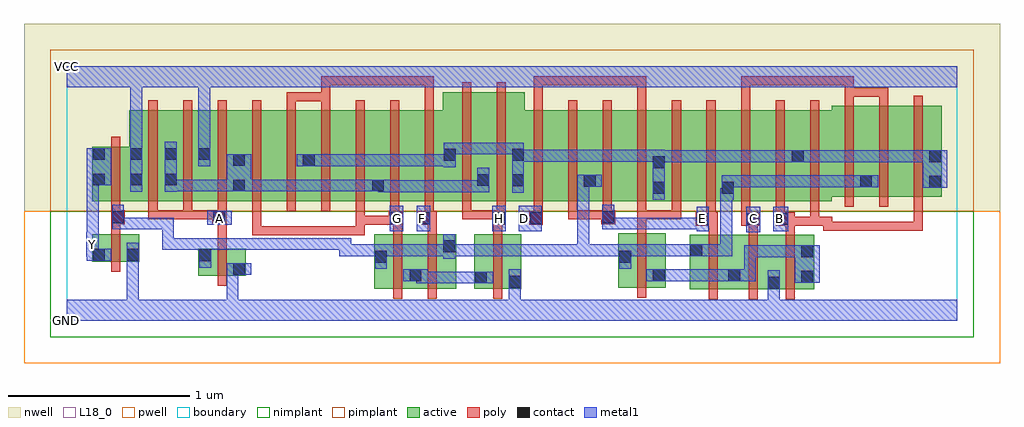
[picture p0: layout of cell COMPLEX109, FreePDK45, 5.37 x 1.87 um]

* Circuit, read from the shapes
.subckt COMPLEX109 A B C D E F G GND H VCC Y
M1 GND n1 Y VSUBS nfet w=0.15u l=0.05u
M2 GND A n1 VSUBS nfet w=0.15u l=0.05u
M3 n2 G n1 VSUBS nfet w=0.3u l=0.05u
M4 n1 F n2 VSUBS nfet w=0.3u l=0.05u
M5 GND H n2 VSUBS nfet w=0.3u l=0.05u
M6 n3 D n1 VSUBS nfet w=0.3u l=0.05u
M7 n3 E n1 VSUBS nfet w=0.3u l=0.05u
M8 GND C n3 VSUBS nfet w=0.3u l=0.05u
M9 n3 B GND VSUBS nfet w=0.3u l=0.05u
M10 VCC n1 Y n4 pfet w=0.3u l=0.05u
M11 n5 A VCC n4 pfet w=0.5u l=0.05u m=3
M12 n6 G n5 n4 pfet w=0.5u l=0.05u
M13 n7 F n6 n4 pfet w=0.5u l=0.05u
M14 n8 F n7 n4 pfet w=0.5u l=0.05u
M15 n5 G n8 n4 pfet w=0.5u l=0.05u
M16 n9 G n5 n4 pfet w=0.5u l=0.05u
M17 n7 F n9 n4 pfet w=0.5u l=0.05u
M18 n5 H n7 n4 pfet w=0.6u l=0.05u m=2
M19 n10 D n7 n4 pfet w=0.5u l=0.05u
M20 n1 E n10 n4 pfet w=0.5u l=0.05u
M21 n11 E n1 n4 pfet w=0.5u l=0.05u
M22 n7 D n11 n4 pfet w=0.5u l=0.05u
M23 n12 D n7 n4 pfet w=0.5u l=0.05u
M24 n1 E n12 n4 pfet w=0.5u l=0.05u
M25 n13 C n1 n4 pfet w=0.5u l=0.05u
M26 n7 B n13 n4 pfet w=0.5u l=0.05u
M27 n14 B n7 n4 pfet w=0.5u l=0.05u
M28 n1 C n14 n4 pfet w=0.5u l=0.05u
M29 n15 C n1 n4 pfet w=0.5u l=0.05u
M30 n7 B n15 n4 pfet w=0.5u l=0.05u
.ends

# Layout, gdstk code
import gdstk
lib = gdstk.Library(unit=1e-6, precision=1e-09)
def R(c, l, rs):  # rectangles x0, y0, x1, y1
    for r in rs: c.add(gdstk.rectangle(r[:2], r[2:], *l))
def A(c, l, x, y, w, h, nx, ny, dx, dy):  # array of equal rectangles
    R(c, l, [(x+i*dx, y+j*dy, x+i*dx+w, y+j*dy+h) for i in range(nx) for j in range(ny)])
active = (1, 0)
pwell = (2, 0)
nwell = (3, 0)
nimplant = (4, 0)
pimplant = (5, 0)
poly = (9, 0)
contact = (10, 0)
metal1 = (11, 0)
L18_0 = (18, 0)
boundary = (235, 0)

complex109 = lib.new_cell('COMPLEX109')
A(complex109, active, 2.69, 0.657, 0.225, 0.5, 3, 1, 0.38, 0)
A(complex109, active, 2.84, 0.657, 0.23, 0.5, 3, 1, 0.38, 0)
R(complex109, active, [(3.427,0.172,3.71,0.472), (3.635,0.172,3.927,0.472), (3.852,0.172,4.112,0.472), (3.852,0.172,3.927,0.392), (1.692,0.177,1.957,0.477), (1.882,0.177,2.142,0.477), (2.242,0.177,2.502,0.477), (2.427,0.177,2.502,0.477), (3.035,0.182,3.295,0.482), (1.882,0.2,1.957,0.392), (2.242,0.2,2.317,0.477), (3.22,0.2,3.295,0.482), (3.635,0.2,3.71,0.392), (4.037,0.2,4.112,0.472), (1.692,0.207,1.767,0.477), (0.725,0.247,0.985,0.397), (0.91,0.247,0.985,0.397), (2.067,0.247,2.142,0.477), (3.035,0.247,3.11,0.482), (3.427,0.247,3.502,0.472), (0.725,0.322,0.8,0.397), (0.14,0.325,0.215,0.475), (0.14,0.325,0.4,0.475), (0.325,0.325,0.4,0.475), (0.14,0.657,0.215,0.957), (0.14,0.657,0.42,0.957), (0.345,0.657,0.42,0.957), (0.345,0.657,0.61,1.157), (0.535,0.657,0.61,1.157), (0.535,0.657,0.795,1.157), (0.72,0.657,0.795,1.157), (0.72,0.657,0.985,1.157), (0.91,0.657,1.14,1.157), (0.91,0.657,0.985,1.157), (1.14,0.657,1.37,1.157), (1.295,0.657,1.52,1.157), (1.52,0.657,1.75,1.157), (1.675,0.657,1.9,1.157), (1.9,0.657,2.145,1.157), (2.07,0.657,2.33,1.257), (2.255,0.657,2.33,1.07), (2.255,0.657,2.52,1.257), (2.445,0.657,2.69,1.157), (2.445,0.657,2.52,1.2), (2.84,0.657,2.915,1.07), (3.22,0.657,3.295,1.157), (3.6,0.657,3.675,1.07), (3.83,0.657,4.06,1.157), (3.985,0.657,4.21,1.157), (1.675,0.682,1.75,1.07), (3.985,0.682,4.06,1.157), (4.21,0.682,4.435,1.182), (4.36,0.682,4.59,1.182), (4.36,0.682,4.435,1.07), (4.59,0.682,4.815,1.182), (4.74,0.682,4.815,1.157), (1.295,0.762,1.37,1.157), (2.07,0.782,2.145,1.2)])
R(complex109, pwell, [(-0.235,-0.235,5.135,0.602)])
R(complex109, nwell, [(-0.235,0.602,5.135,1.635)])
R(complex109, nimplant, [(-0.09,-0.09,4.99,0.602)])
R(complex109, pimplant, [(-0.09,0.602,4.99,1.49)])
A(complex109, poly, 3.52, 0.547, 0.05, 0.105, 3, 1, 0.19, 0)
A(complex109, poly, 0.45, 0.557, 0.05, 0.095, 3, 1, 0.19, 0)
A(complex109, poly, 2.76, 0.557, 0.05, 0.095, 4, 1, 0.19, 0)
A(complex109, poly, 0.45, 0.602, 0.05, 0.61, 9, 1, 0.19, 0)
A(complex109, poly, 2.57, 0.602, 0.05, 0.61, 9, 1, 0.19, 0)
A(complex109, poly, 4.28, 0.627, 0.05, 0.61, 3, 1, 0.19, 0)
A(complex109, poly, 2.57, 1.162, 0.05, 0.183, 3, 1, 0.57, 0)
R(complex109, poly, [(3.532,0.117,3.582,0.527), (3.752,0.117,3.802,0.527), (3.957,0.117,4.007,0.527), (1.797,0.122,1.847,0.532), (1.987,0.122,2.037,0.532), (2.347,0.122,2.397,0.532), (3.14,0.127,3.19,0.537), (0.83,0.192,0.88,0.452), (0.245,0.27,0.295,0.53), (0.83,0.402,0.88,0.582), (1.02,0.47,1.07,0.652), (1.02,0.47,1.07,0.52), (1.02,0.47,1.07,0.52), (1.02,0.47,1.07,0.52), (1.02,0.47,1.317,0.52), (1.267,0.47,1.317,0.52), (1.267,0.47,1.507,0.52), (1.457,0.47,1.507,0.52), (1.457,0.47,1.507,0.52), (1.457,0.47,1.507,0.52), (1.457,0.47,1.64,0.52), (1.59,0.47,1.64,0.577), (3.532,0.477,3.582,0.572), (3.752,0.477,3.802,0.572), (3.957,0.477,4.007,0.572), (0.245,0.48,0.295,0.582), (1.797,0.482,1.847,0.577), (1.987,0.482,2.037,0.577), (2.347,0.482,2.397,0.577), (3.14,0.487,3.19,0.607), (4.162,0.495,4.345,0.545), (4.162,0.495,4.212,0.572), (4.295,0.495,4.345,0.545), (4.295,0.495,4.345,0.545), (4.295,0.495,4.345,0.545), (4.295,0.495,4.54,0.545), (4.49,0.495,4.54,0.545), (4.49,0.495,4.71,0.545), (4.66,0.495,4.71,0.677), (4.66,0.495,4.71,0.545), (4.66,0.495,4.71,0.545), (4.66,0.495,4.71,0.545), (3.462,0.522,3.582,0.597), (3.71,0.522,3.81,0.597), (3.9,0.522,4.007,0.597), (3.957,0.522,4.007,0.572), (3.957,0.522,4.007,0.572), (3.957,0.522,4.14,0.572), (4.09,0.522,4.14,0.572), (4.09,0.522,4.212,0.572), (4.09,0.522,4.14,0.652), (1.59,0.527,1.64,0.577), (1.59,0.527,1.64,0.577), (1.59,0.527,1.822,0.577), (1.59,0.527,1.64,0.652), (1.772,0.527,1.822,0.577), (1.772,0.527,1.822,0.577), (1.772,0.527,1.847,0.602), (1.93,0.527,2.037,0.602), (2.34,0.527,2.415,0.607), (2.545,0.527,2.62,0.602), (0.245,0.532,0.32,0.607), (0.802,0.532,0.88,0.607), (2.942,0.532,3.017,0.607), (1.78,0.552,1.83,0.652), (1.97,0.552,2.02,0.652), (2.57,0.552,2.62,0.652), (0.245,0.557,0.295,0.652), (0.45,0.557,0.5,0.607), (0.45,0.557,0.5,0.607), (0.45,0.557,0.5,0.607), (0.45,0.557,0.69,0.607), (0.64,0.557,0.69,0.607), (0.64,0.557,0.69,0.607), (0.64,0.557,0.69,0.607), (0.64,0.557,0.852,0.607), (2.175,0.557,2.225,0.607), (2.175,0.557,2.225,0.652), (2.175,0.557,2.39,0.607), (2.34,0.557,2.39,0.607), (2.34,0.557,2.39,0.607), (2.365,0.557,2.415,0.652), (2.76,0.557,2.81,0.607), (2.76,0.557,2.81,0.607), (2.76,0.557,2.81,0.607), (2.76,0.557,2.992,0.607), (3.14,0.557,3.19,0.607), (3.14,0.557,3.38,0.607), (3.33,0.557,3.38,0.607), (3.33,0.557,3.38,0.607), (3.33,0.557,3.38,0.607), (0.245,0.602,0.295,1.012), (2.175,0.602,2.225,1.312), (2.365,0.602,2.415,1.312), (1.21,1.162,1.26,1.257), (1.4,1.162,1.45,1.257), (1.97,1.162,2.02,1.345), (4.28,1.187,4.33,1.282), (4.47,1.187,4.52,1.282), (1.21,1.207,1.26,1.257), (1.21,1.207,1.26,1.257), (1.21,1.207,1.26,1.257), (1.21,1.207,1.45,1.257), (1.4,1.207,1.45,1.345), (4.28,1.232,4.52,1.282), (4.28,1.232,4.33,1.345), (4.47,1.232,4.52,1.282), (4.47,1.232,4.52,1.282), (4.47,1.232,4.52,1.282), (1.4,1.295,1.64,1.345), (1.59,1.295,1.64,1.345), (1.59,1.295,1.64,1.345), (1.59,1.295,1.64,1.345), (1.59,1.295,1.772,1.345), (1.722,1.295,1.772,1.345), (1.722,1.295,1.772,1.345), (1.722,1.295,1.772,1.345), (1.722,1.295,2.02,1.345), (1.97,1.295,2.02,1.345), (1.97,1.295,2.02,1.345), (1.97,1.295,2.02,1.345), (2.57,1.295,2.62,1.345), (2.57,1.295,2.62,1.345), (2.57,1.295,2.62,1.345), (2.57,1.295,2.86,1.345), (2.81,1.295,2.86,1.345), (2.81,1.295,3.057,1.345), (3.007,1.295,3.057,1.345), (3.007,1.295,3.057,1.345), (3.007,1.295,3.057,1.345), (3.007,1.295,3.19,1.345), (3.14,1.295,3.19,1.345), (3.14,1.295,3.19,1.345), (3.14,1.295,3.19,1.345), (3.71,1.295,3.76,1.345), (3.71,1.295,3.76,1.345), (3.71,1.295,3.76,1.345), (3.71,1.295,3.942,1.345), (3.892,1.295,3.942,1.345), (3.892,1.295,3.942,1.345), (3.892,1.295,3.942,1.345), (3.892,1.295,4.14,1.345), (4.09,1.295,4.14,1.345), (4.09,1.295,4.14,1.345), (4.09,1.295,4.14,1.345), (4.09,1.295,4.33,1.345)])
R(complex109, contact, [(3.857,0.177,3.922,0.242), (2.432,0.182,2.497,0.247), (2.247,0.205,2.312,0.27), (4.042,0.21,4.107,0.275), (1.887,0.217,1.952,0.282), (3.225,0.217,3.29,0.282), (3.64,0.217,3.705,0.282), (0.915,0.252,0.98,0.317), (1.697,0.32,1.762,0.385), (3.04,0.32,3.105,0.385), (0.73,0.327,0.795,0.392), (0.145,0.33,0.21,0.395), (0.33,0.33,0.395,0.395), (4.042,0.35,4.107,0.415), (3.432,0.355,3.497,0.42), (2.072,0.377,2.137,0.442), (3.467,0.527,3.532,0.592), (3.74,0.527,3.805,0.592), (3.905,0.527,3.97,0.592), (1.777,0.532,1.842,0.597), (1.935,0.532,2,0.597), (2.345,0.532,2.41,0.597), (2.55,0.532,2.615,0.597), (0.25,0.537,0.315,0.602), (0.807,0.537,0.872,0.602), (2.947,0.537,3.012,0.602), (3.225,0.7,3.29,0.765), (3.605,0.7,3.67,0.765), (0.915,0.712,0.98,0.777), (1.68,0.712,1.745,0.777), (4.745,0.732,4.81,0.797), (4.365,0.735,4.43,0.8), (2.845,0.737,2.91,0.802), (2.45,0.74,2.515,0.805), (2.26,0.742,2.325,0.807), (0.145,0.745,0.21,0.81), (0.35,0.745,0.415,0.81), (0.54,0.745,0.605,0.81), (3.225,0.84,3.29,0.905), (1.3,0.85,1.365,0.915), (0.915,0.852,0.98,0.917), (3.99,0.872,4.055,0.937), (4.745,0.872,4.81,0.937), (2.075,0.88,2.14,0.945), (2.45,0.88,2.515,0.945), (0.145,0.885,0.21,0.95), (0.35,0.885,0.415,0.95), (0.54,0.885,0.605,0.95), (0.725,0.885,0.79,0.95)])
R(complex109, metal1, [(0,0,4.9,0.115), (0.33,0.05,0.395,0.115), (0.33,0.05,0.395,0.115), (0.33,0.05,0.395,0.36), (0.88,0.05,0.945,0.115), (0.88,0.05,0.945,0.115), (0.88,0.05,0.945,0.115), (0.88,0.05,0.945,0.115), (0.88,0.05,0.945,0.317), (2.432,0.05,2.497,0.115), (2.432,0.05,2.497,0.115), (2.432,0.05,2.497,0.212), (3.857,0.05,3.922,0.115), (3.857,0.05,3.922,0.115), (3.857,0.05,3.922,0.207), (3.857,0.142,3.922,0.277), (2.432,0.147,2.497,0.282), (1.922,0.205,2.14,0.27), (1.922,0.205,1.987,0.282), (2.075,0.205,2.14,0.27), (2.075,0.205,2.237,0.27), (2.172,0.205,2.237,0.27), (2.172,0.205,2.277,0.27), (2.212,0.205,2.347,0.27), (4.007,0.21,4.142,0.415), (1.852,0.217,1.987,0.282), (1.922,0.217,1.987,0.282), (3.19,0.217,3.325,0.282), (3.26,0.217,3.325,0.282), (3.26,0.217,3.325,0.282), (3.26,0.217,3.525,0.282), (3.46,0.217,3.525,0.282), (3.46,0.217,3.525,0.282), (3.46,0.217,3.525,0.282), (3.46,0.217,3.67,0.282), (3.605,0.217,3.74,0.282), (3.675,0.217,3.792,0.282), (3.727,0.217,3.792,0.415), (0.88,0.252,1.015,0.317), (1.697,0.285,1.762,0.42), (3.04,0.285,3.105,0.42), (0.73,0.292,0.795,0.455), (0.33,0.295,0.395,0.36), (0.33,0.295,0.395,0.36), (0.33,0.295,0.395,0.43), (0.11,0.33,0.245,0.395), (0.11,0.33,0.175,0.417), (2.072,0.342,2.137,0.477), (3.727,0.35,3.877,0.415), (3.812,0.35,3.877,0.415), (3.812,0.35,4.072,0.415), (4.007,0.35,4.072,0.415), (4.007,0.35,4.072,0.415), (0.107,0.352,0.175,0.487), (1.5,0.355,1.762,0.42), (1.5,0.355,1.565,0.455), (1.697,0.355,1.762,0.42), (1.697,0.355,1.762,0.42), (1.697,0.355,1.987,0.42), (1.922,0.355,1.987,0.42), (1.922,0.355,1.987,0.42), (1.922,0.355,1.987,0.42), (1.922,0.355,2.137,0.42), (2.072,0.355,2.137,0.42), (2.072,0.355,2.137,0.42), (2.072,0.355,2.36,0.42), (2.295,0.355,2.36,0.42), (2.295,0.355,2.375,0.42), (2.31,0.355,2.375,0.42), (2.31,0.355,2.6,0.42), (2.535,0.355,2.6,0.42), (2.535,0.355,2.6,0.42), (2.535,0.355,2.6,0.42), (2.535,0.355,2.737,0.42), (2.672,0.355,2.737,0.42), (2.672,0.355,2.737,0.42), (2.672,0.355,2.737,0.42), (2.672,0.355,2.875,0.42), (2.81,0.355,2.875,0.42), (2.81,0.355,2.875,0.42), (2.81,0.355,2.875,0.42), (2.81,0.355,2.875,0.42), (2.81,0.355,2.875,0.42), (2.81,0.355,3.105,0.42), (2.81,0.355,2.875,0.802), (3.04,0.355,3.15,0.42), (3.085,0.355,3.15,0.42), (3.085,0.355,3.242,0.42), (3.177,0.355,3.242,0.42), (3.177,0.355,3.325,0.42), (3.26,0.355,3.325,0.42), (3.26,0.355,3.462,0.42), (3.397,0.355,3.532,0.42), (3.467,0.355,3.532,0.42), (3.467,0.355,3.532,0.42), (3.467,0.355,3.662,0.42), (3.597,0.355,3.662,0.42), (3.597,0.355,3.662,0.73), (0.525,0.39,0.795,0.455), (0.525,0.39,0.59,0.567), (0.73,0.39,0.795,0.455), (0.73,0.39,0.795,0.455), (0.73,0.39,1.015,0.455), (0.95,0.39,1.015,0.455), (0.95,0.39,1.015,0.455), (0.95,0.39,1.015,0.455), (0.95,0.39,1.152,0.455), (1.087,0.39,1.152,0.455), (1.087,0.39,1.152,0.455), (1.087,0.39,1.152,0.455), (1.087,0.39,1.29,0.455), (1.225,0.39,1.29,0.455), (1.225,0.39,1.29,0.455), (1.225,0.39,1.29,0.455), (1.225,0.39,1.565,0.455), (1.5,0.39,1.565,0.455), (1.5,0.39,1.565,0.455), (0.11,0.422,0.175,0.81), (3.74,0.487,3.815,0.627), (1.777,0.492,1.852,0.632), (1.925,0.492,2,0.632), (2.34,0.492,2.415,0.632), (2.487,0.492,2.615,0.632), (3.467,0.492,3.532,0.627), (3.887,0.492,3.97,0.627), (0.25,0.502,0.452,0.567), (0.25,0.502,0.315,0.637), (0.387,0.502,0.452,0.567), (0.387,0.502,0.452,0.567), (0.387,0.502,0.452,0.567), (0.387,0.502,0.452,0.567), (0.387,0.502,0.452,0.567), (0.387,0.502,0.59,0.567), (0.525,0.502,0.59,0.567), (0.525,0.502,0.59,0.567), (2.947,0.502,3.012,0.567), (2.947,0.502,3.012,0.567), (2.947,0.502,3.012,0.637), (2.947,0.502,3.152,0.567), (3.087,0.502,3.152,0.567), (3.087,0.502,3.325,0.567), (3.26,0.502,3.325,0.567), (3.26,0.502,3.325,0.567), (3.26,0.502,3.325,0.567), (3.26,0.502,3.462,0.567), (3.397,0.502,3.462,0.567), (3.397,0.502,3.532,0.567), (0.772,0.527,0.907,0.605), (3.225,0.665,3.29,0.94), (3.597,0.665,3.67,0.73), (3.605,0.665,3.67,0.73), (3.605,0.665,3.67,0.8), (2.45,0.705,2.515,0.98), (1.715,0.707,2,0.772), (1.715,0.707,1.78,0.777), (1.935,0.707,2,0.772), (1.935,0.707,2,0.772), (1.935,0.707,2,0.772), (1.935,0.707,2.14,0.772), (2.075,0.707,2.14,0.772), (2.075,0.707,2.14,0.772), (2.075,0.707,2.14,0.772), (2.075,0.707,2.325,0.772), (2.26,0.707,2.325,0.842), (0.35,0.71,0.415,0.985), (0.54,0.71,0.605,0.985), (0.54,0.712,0.605,0.777), (0.54,0.712,0.605,0.777), (0.54,0.712,0.807,0.777), (0.742,0.712,0.807,0.777), (0.742,0.712,0.807,0.777), (0.742,0.712,0.807,0.777), (0.742,0.712,0.945,0.777), (0.88,0.712,1.015,0.917), (0.95,0.712,1.015,0.777), (0.95,0.712,1.015,0.777), (0.95,0.712,1.152,0.777), (1.087,0.712,1.152,0.777), (1.087,0.712,1.152,0.777), (1.087,0.712,1.152,0.777), (1.087,0.712,1.427,0.777), (1.362,0.712,1.427,0.777), (1.362,0.712,1.427,0.777), (1.362,0.712,1.427,0.777), (1.362,0.712,1.565,0.777), (1.5,0.712,1.565,0.777), (1.5,0.712,1.565,0.777), (1.5,0.712,1.565,0.777), (1.5,0.712,1.71,0.777), (1.645,0.712,1.78,0.777), (1.715,0.712,1.78,0.777), (4.71,0.732,4.845,0.937), (3.605,0.735,3.67,0.8), (3.605,0.735,3.67,0.8), (3.605,0.735,3.882,0.8), (3.817,0.735,3.882,0.8), (3.817,0.735,4.12,0.8), (4.055,0.735,4.12,0.8), (4.055,0.735,4.12,0.8), (4.055,0.735,4.12,0.8), (4.055,0.735,4.257,0.8), (4.192,0.735,4.257,0.8), (4.192,0.735,4.257,0.8), (4.192,0.735,4.257,0.8), (4.192,0.735,4.395,0.8), (4.33,0.735,4.395,0.8), (4.33,0.735,4.395,0.8), (4.33,0.735,4.465,0.8), (2.81,0.737,2.945,0.802), (0.11,0.745,0.245,0.95), (2.075,0.845,2.14,0.98), (0.725,0.85,0.79,0.985), (1.265,0.85,1.4,0.915), (1.335,0.85,1.4,0.915), (1.335,0.85,1.4,0.915), (1.335,0.85,1.565,0.915), (1.5,0.85,1.565,0.915), (1.5,0.85,1.565,0.915), (1.5,0.85,1.565,0.915), (1.5,0.85,1.702,0.915), (1.637,0.85,1.702,0.915), (1.637,0.85,1.85,0.915), (1.785,0.85,1.85,0.915), (1.785,0.85,1.987,0.915), (1.922,0.85,1.987,0.915), (1.922,0.85,1.987,0.915), (1.922,0.85,1.987,0.915), (1.922,0.85,2.14,0.915), (3.225,0.872,3.29,0.937), (3.225,0.872,3.29,0.937), (3.225,0.872,3.462,0.937), (3.397,0.872,3.462,0.937), (3.397,0.872,3.462,0.937), (3.397,0.872,3.462,0.937), (3.397,0.872,3.74,0.937), (3.675,0.872,3.74,0.937), (3.675,0.872,3.74,0.937), (3.675,0.872,3.74,0.937), (3.675,0.872,3.877,0.937), (3.812,0.872,3.877,0.937), (3.812,0.872,4.02,0.937), (3.955,0.872,4.02,0.937), (3.955,0.872,4.02,0.937), (3.955,0.872,4.09,0.937), (4.025,0.872,4.257,0.937), (4.192,0.872,4.257,0.937), (4.192,0.872,4.257,0.937), (4.192,0.872,4.257,0.937), (4.192,0.872,4.5,0.937), (4.435,0.872,4.5,0.937), (4.435,0.872,4.5,0.937), (4.435,0.872,4.5,0.937), (4.435,0.872,4.637,0.937), (4.572,0.872,4.637,0.937), (4.572,0.872,4.637,0.937), (4.572,0.872,4.637,0.937), (4.572,0.872,4.775,0.937), (4.71,0.872,4.775,0.937), (4.71,0.872,4.775,0.937), (2.45,0.875,2.6,0.94), (2.535,0.875,2.6,0.94), (2.535,0.875,2.737,0.94), (2.672,0.875,2.737,0.94), (2.672,0.875,2.737,0.94), (2.672,0.875,2.737,0.94), (2.672,0.875,2.875,0.94), (2.81,0.875,2.875,0.94), (2.81,0.875,2.875,0.94), (2.81,0.875,2.875,0.94), (2.81,0.875,3.105,0.94), (3.04,0.875,3.105,0.94), (3.04,0.875,3.15,0.94), (3.085,0.875,3.15,0.94), (3.085,0.875,3.29,0.94), (2.075,0.915,2.14,0.98), (2.075,0.915,2.14,0.98), (2.075,0.915,2.36,0.98), (2.295,0.915,2.36,0.98), (2.295,0.915,2.415,0.98), (2.35,0.915,2.415,0.98), (2.35,0.915,2.515,0.98), (0.35,0.92,0.415,1.35), (0.725,0.92,0.79,1.35), (0,1.285,4.9,1.4), (0.35,1.285,0.415,1.35), (0.35,1.285,0.415,1.35), (0.725,1.285,0.79,1.35), (0.725,1.285,0.79,1.35)])
R(complex109, L18_0, [(0,0,4.9,0.115), (0.33,0.05,0.395,0.115), (0.33,0.05,0.395,0.115), (0.33,0.05,0.395,0.36), (0.88,0.05,0.945,0.115), (0.88,0.05,0.945,0.115), (0.88,0.05,0.945,0.115), (0.88,0.05,0.945,0.115), (0.88,0.05,0.945,0.317), (2.432,0.05,2.497,0.115), (2.432,0.05,2.497,0.115), (2.432,0.05,2.497,0.212), (3.857,0.05,3.922,0.115), (3.857,0.05,3.922,0.115), (3.857,0.05,3.922,0.207), (3.857,0.142,3.922,0.277), (2.432,0.147,2.497,0.282), (0.88,0.252,1.015,0.317), (0.33,0.295,0.395,0.36), (0.33,0.295,0.395,0.36), (0.33,0.295,0.395,0.43), (0.11,0.33,0.245,0.395), (0.11,0.33,0.175,0.417), (0.107,0.352,0.175,0.487), (0.107,0.387,0.172,0.452), (0.11,0.422,0.175,0.81), (3.74,0.487,3.815,0.627), (1.777,0.492,1.852,0.632), (1.925,0.492,2,0.632), (2.34,0.492,2.415,0.632), (2.487,0.492,2.615,0.632), (3.467,0.492,3.532,0.627), (3.887,0.492,3.97,0.627), (2.947,0.502,3.012,0.567), (2.947,0.502,3.012,0.567), (2.947,0.502,3.012,0.637), (2.947,0.502,3.152,0.567), (3.087,0.502,3.152,0.567), (3.087,0.502,3.325,0.567), (3.26,0.502,3.325,0.567), (3.26,0.502,3.325,0.567), (3.26,0.502,3.325,0.567), (3.26,0.502,3.462,0.567), (3.397,0.502,3.532,0.567), (3.397,0.502,3.462,0.567), (0.772,0.527,0.907,0.605), (0.807,0.527,0.872,0.592), (1.787,0.527,1.852,0.592), (1.927,0.527,1.992,0.592), (2.347,0.527,2.412,0.592), (2.487,0.527,2.552,0.592), (3.467,0.527,3.532,0.592), (3.747,0.527,3.812,0.592), (3.887,0.527,3.952,0.592), (0.35,0.71,0.415,0.985), (0.11,0.745,0.245,0.95), (0.725,0.85,0.79,0.985), (0.35,0.92,0.415,1.35), (0.725,0.92,0.79,1.35), (0,1.285,4.9,1.4), (0.35,1.285,0.415,1.35), (0.35,1.285,0.415,1.35), (0.725,1.285,0.79,1.35), (0.725,1.285,0.79,1.35)])
R(complex109, boundary, [(0,0,4.9,1.4)])
complex109.add(gdstk.Label('A', (0.84,0.56), layer=11, texttype=0))
complex109.add(gdstk.Label('B', (3.92,0.56), layer=11, texttype=0))
complex109.add(gdstk.Label('C', (3.78,0.56), layer=11, texttype=0))
complex109.add(gdstk.Label('D', (2.52,0.56), layer=11, texttype=0))
complex109.add(gdstk.Label('E', (3.5,0.56), layer=11, texttype=0))
complex109.add(gdstk.Label('F', (1.96,0.56), layer=11, texttype=0))
complex109.add(gdstk.Label('G', (1.82,0.56), layer=11, texttype=0))
complex109.add(gdstk.Label('H', (2.38,0.56), layer=11, texttype=0))
complex109.add(gdstk.Label('Y', (0.14,0.42), layer=11, texttype=0))
complex109.add(gdstk.Label('VCC', (0,1.4), layer=11, texttype=0))
complex109.add(gdstk.Label('GND', (0,0), layer=11, texttype=0))

lib.write_gds('COMPLEX109.gds')
